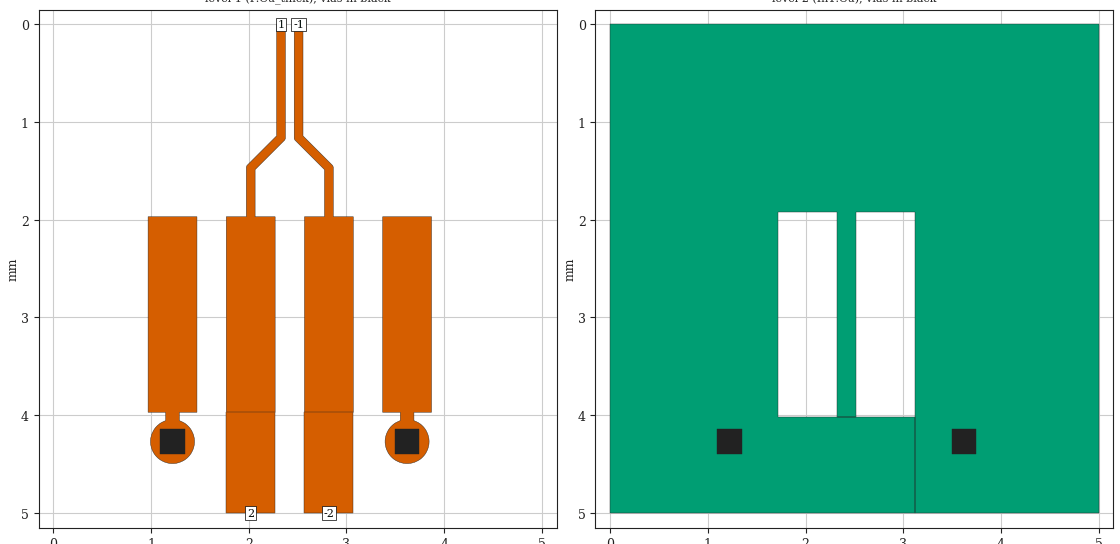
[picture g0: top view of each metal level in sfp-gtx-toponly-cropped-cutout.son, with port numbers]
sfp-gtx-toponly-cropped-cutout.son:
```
FTYP SONPROJ 19 ! Sonnet Project File
VER 18.52
HEADER
LIC antikernel2.1.51176
DAT 02/10/2022 06:57:55
BUILT_BY_CREATED xgeom 18.52 02/09/2022 03:42:16
BUILT_BY_SAVED sonnet 18.52
MDATE 02/10/2022 06:57:55
HDATE 02/10/2022 06:57:55
ANN Created by dxfgeo, Sonnet Software Inc.
END HEADER
DIM
ANG DEG
CAP PF
CON /OH
FREQ GHZ
IND NH
LNG MM
RES OH
END DIM
CONTROL
VARSWP
OPTIONS  -d
SPEED 1
CACHE_ABS 2
Q_ACC N
END CONTROL
GEO
DRP1 BOTTOM LINK
POLY 24131 1
0
TMET "Free Space" 0 FREESPACE 376.7303136 0 0 0
BMET "Free Space" 0 FREESPACE 376.7303136 0 0 0
MET "Copper_1oz_thin" 1 NOR 58000000 0.5 0.035 
MET "Copper_1oz_thick" 2 TMM 58000000 0.5 0.035 2
MET "Copper_0.5oz_thin" 4 NOR 58000000 0.5 0.017 
MET "Copper_0.5oz_thick" 12 TMM 58000000 0.5 0.017 2
MET "Copper_0.5oz_thick_down" 5 TMM 58000000 0.5 0.017 2 CDVY TDWN
MET "Copper_1oz_thick_down" 3 TMM 58000000 0.5 0.035 2 CDVY TDWN
BOX 12 5 5 1000 1000 20 0
      5 1 1 0 0 0 0 "Air"
      0.04 3.5 1 0.025 0 0 0 "Soldermask"
      0.075 3.39 1 0.004 0 0 0 "Panasonic_R-5775(G)"
      0.068 3.56 1 0.004 0 0 0 "Panasonic_R-5670(G)"
      0.13 3.39 1 0.004 0 0 0 "Panasonic_R-5775(G)"
      0.092 3.56 1 0.004 0 0 0 "Panasonic_R-5670(G)"
      0.609 3.39 1 0.004 0 0 0 "Panasonic_R-5775(G)"
      0.092 3.56 1 0.004 0 0 0 "Panasonic_R-5670(G)"
      0.13 3.39 1 0.004 0 0 0 "Panasonic_R-5775(G)"
      0.068 3.56 1 0.004 0 0 0 "Panasonic_R-5670(G)"
      0.075 3.39 1 0.004 0 0 0 "Panasonic_R-5775(G)"
      0.04 3.5 1 0.025 0 0 0 "Soldermask"
      5 1 1 0 0 0 0 "Air"
TECHLAY METAL Metal1 <UNSPECIFIED> -2 -65534 
0 0 -1 N 23225 1 1 100 100 0 0 0 Y
END
END
TECHLAY METAL F.Cu_thick L1D0 -2 -65534 CAD F.Cu_thick drawing 
1 0 1 N 23228 1 1 100 100 0 0 0 Y
END
END
TECHLAY VIA Via1 L9D0 -13 -65534 CAD Via1 drawing 
VIA POLYGON
1 0 -1 N 24121 1 1 100 100 0 0 0 Y
TOLEVEL 10 RING NOCOVERS
END
END
TECHLAY METAL F.Cu_thin <UNSPECIFIED> -1 -65534 CAD F.Cu_thin drawing 
1 0 0 N 23232 1 1 100 100 0 0 0 Y
END
END
TECHLAY METAL In1.Cu L2D0 -3 -65534 CAD In1.Cu drawing 
2 0 0 N 23235 1 1 100 100 0 0 0 Y
END
END
TECHLAY METAL In2.Cu_thick L3D0 -5 -65534 CAD In2.Cu_thick drawing 
3 0 3 N 23238 1 1 100 100 0 0 0 Y
END
END
TECHLAY METAL In2.Cu_thin <UNSPECIFIED> -4 -65534 CAD In2.Cu drawing 
3 0 2 N 23240 1 1 100 100 0 0 0 Y
END
END
TECHLAY METAL In3.Cu L4D0 -6 -65534 CAD In3.Cu drawing 
4 0 0 N 23243 1 1 100 100 0 0 0 Y
END
END
TECHLAY METAL In4.Cu L5D0 -7 -65534 CAD In4.Cu drawing 
7 0 0 N 23248 1 1 100 100 0 0 0 Y
END
END
TECHLAY METAL In5.Cu_thick L6D0 -9 -65534 CAD In5.Cu_thick drawing 
8 0 4 N 23251 1 1 100 100 0 0 0 Y
END
END
TECHLAY METAL In5.Cu_thin <UNSPECIFIED> -8 -65534 CAD In5.Cu drawing 
8 0 2 N 23253 1 1 100 100 0 0 0 Y
END
END
TECHLAY METAL In6.Cu L7D0 -10 -65534 CAD In6.Cu drawing 
9 0 0 N 23256 1 1 100 100 0 0 0 Y
END
END
TECHLAY METAL B.Cu_thick L8D0 -12 -65534 CAD B.Cu_thick drawing 
10 0 5 N 23259 1 1 100 100 0 0 0 Y
END
END
TECHLAY METAL B.Cu_thin <UNSPECIFIED> -11 -65534 CAD B.Cu_thin drawing 
10 0 0 N 23261 1 1 100 100 0 0 0 Y
END
END
VALVAR CORE_ER NONE "table1(\"core_er.csv\",FREQ)" "Variable set in material file"
VALVAR CORE_DF NONE "table1(\"core_df.csv\",FREQ)" "Variable set in material file"
VALVAR PREPREG_DF NONE "table1(\"prepreg_df.csv\",FREQ)" "Variable set in material file"
VALVAR PREPREG_ER NONE "table1(\"prepreg_er.csv\",FREQ)" "Variable set in material file"
LORGN 0 5 U 
POR1 BOX
POLY 24108 1
9
-1 100 0 0 0 2.51 0 
POR1 BOX
POLY 24109 1
9
1 100 0 0 0 2.33 0 
POR1 BOX
POLY 24131 1
2
2 100 0 0 0 2.02 5 
POR1 BOX
POLY 24135 1
2
-2 100 0 0 0 2.82 5 
NUM 9
1 67 1 N 1085 1 1 100 100 0 0 0 Y
TLAYNAM F.Cu_thick INH
USER_DAT FromImport
1.209 4.495
1.187 4.493
1.165 4.488
1.144 4.482
1.124 4.473
1.104 4.463
1.086 4.451
1.069 4.437
1.053 4.421
1.039 4.404
1.027 4.386
1.017 4.366
1.008 4.346
1.002 4.325
0.997 4.303
0.995 4.281
0.995 4.259
0.997 4.237
1.002 4.215
1.008 4.194
1.017 4.174
1.027 4.154
1.039 4.136
1.053 4.119
1.069 4.103
1.086 4.089
1.104 4.077
1.124 4.067
1.144 4.058
1.15 4.056
1.15 3.97
0.97 3.97
0.97 1.97
1.47 1.97
1.47 3.97
1.29 3.97
1.29 4.056
1.296 4.058
1.316 4.067
1.336 4.077
1.354 4.089
1.371 4.103
1.387 4.119
1.401 4.136
1.413 4.154
1.423 4.174
1.432 4.194
1.438 4.215
1.443 4.237
1.445 4.259
1.445 4.281
1.443 4.303
1.438 4.325
1.432 4.346
1.423 4.366
1.413 4.386
1.401 4.404
1.387 4.421
1.371 4.437
1.354 4.451
1.336 4.463
1.316 4.473
1.296 4.482
1.275 4.488
1.253 4.493
1.231 4.495
1.209 4.495
END
1 67 1 N 1086 1 1 100 100 0 0 0 Y
TLAYNAM F.Cu_thick INH
USER_DAT FromImport
3.609 4.495
3.587 4.493
3.565 4.488
3.544 4.482
3.524 4.473
3.504 4.463
3.486 4.451
3.469 4.437
3.453 4.421
3.439 4.404
3.427 4.386
3.417 4.366
3.408 4.346
3.402 4.325
3.397 4.303
3.395 4.281
3.395 4.259
3.397 4.237
3.402 4.215
3.408 4.194
3.417 4.174
3.427 4.154
3.439 4.136
3.453 4.119
3.469 4.103
3.486 4.089
3.504 4.077
3.524 4.067
3.544 4.058
3.55 4.056
3.55 3.97
3.37 3.97
3.37 1.97
3.87 1.97
3.87 3.97
3.69 3.97
3.69 4.056
3.696 4.058
3.716 4.067
3.736 4.077
3.754 4.089
3.771 4.103
3.787 4.119
3.801 4.136
3.813 4.154
3.823 4.174
3.832 4.194
3.838 4.215
3.843 4.237
3.845 4.259
3.845 4.281
3.843 4.303
3.838 4.325
3.832 4.346
3.823 4.366
3.813 4.386
3.801 4.404
3.787 4.421
3.771 4.437
3.754 4.451
3.736 4.463
3.716 4.473
3.696 4.482
3.675 4.488
3.653 4.493
3.631 4.495
3.609 4.495
END
1 23 1 N 24108 1 1 100 100 0 0 0 Y
TLAYNAM F.Cu_thick NOH
USER_DAT FromImport
3.07 1.97
2.865 1.97
2.865 1.463
2.864 1.459
2.862 1.455
2.861 1.451
2.859 1.447
2.856 1.443
2.555 1.142
2.555 0
2.465 0
2.465 1.167
2.466 1.171
2.468 1.175
2.469 1.179
2.471 1.183
2.474 1.187
2.775 1.488
2.775 1.97
2.57 1.97
2.57 3.97
3.07 3.97
3.07 1.97
END
1 23 1 N 24109 1 1 100 100 0 0 0 Y
TLAYNAM F.Cu_thick NOH
USER_DAT FromImport
2.27 1.97
2.065 1.97
2.065 1.488
2.366 1.187
2.369 1.183
2.371 1.179
2.372 1.175
2.374 1.171
2.375 1.167
2.375 0
2.285 0
2.285 1.142
1.984 1.443
1.981 1.447
1.979 1.451
1.978 1.455
1.976 1.459
1.975 1.463
1.975 1.97
1.77 1.97
1.77 3.97
2.27 3.97
2.27 1.97
END
1 5 1 N 24131 1 1 100 100 0 0 0 Y
TLAYNAM F.Cu_thick INH
1.77 3.97
2.27 3.97
2.27 5
1.77 5
1.77 3.97
END
1 5 1 N 24135 1 1 100 100 0 0 0 Y
TLAYNAM F.Cu_thick INH
2.57 3.97
3.07 3.97
3.07 5
2.57 5
2.57 3.97
END
VIA POLYGON
1 5 -1 N 21416 1 1 100 100 0 0 0 Y
TOLEVEL 10 RING NOCOVERS
TLAYNAM Via1 INH
USER_DAT FromImport
1.095 4.395
1.095 4.145
1.345 4.145
1.345 4.395
1.095 4.395
END
VIA POLYGON
1 5 -1 N 21418 1 1 100 100 0 0 0 Y
TOLEVEL 10 RING NOCOVERS
TLAYNAM Via1 INH
USER_DAT FromImport
3.495 4.395
3.495 4.145
3.745 4.145
3.745 4.395
3.495 4.395
END
2 35 0 N 24152 1 1 100 100 0 0 0 Y
TLAYNAM In1.Cu INH
5 0
0 0
0 5
3.117572816 5
3.117572816 4.02
3.07 4.02
3.07 4.02
2.52 4.02
2.32 4.02
2.32 4.02
1.72 4.02
1.72 3.97
1.72 3.97
1.72 1.97
1.72 1.97
1.72 1.92
2.32 1.92
2.32 1.97
2.32 1.97
2.32 3.97
2.32 3.97
2.32 4.02
2.52 4.02
2.52 3.97
2.52 1.97
2.52 1.92
3.12 1.92
3.12 1.97
3.12 3.97
3.12 4.02
3.117572816 4.02
3.117572816 4.02
3.117572816 5
5 5
5 0
END
END GEO
OPT
MAX 100
END OPT
VARSWP
ENABLED Y
FREQ Y AY ABS_ENTRY 0.001 16.0 -1 300 
END
END VARSWP
```
